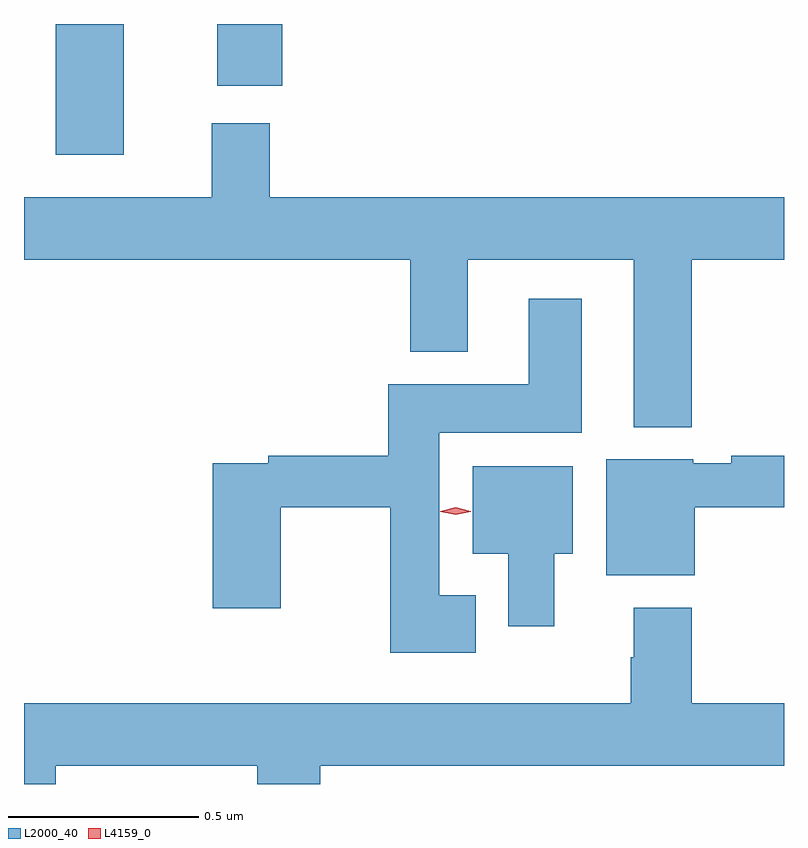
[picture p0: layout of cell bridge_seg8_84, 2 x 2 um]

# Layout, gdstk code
import gdstk
lib = gdstk.Library(unit=1e-6, precision=1e-09)
def R(c, l, rs):  # rectangles x0, y0, x1, y1
    for r in rs: c.add(gdstk.rectangle(r[:2], r[2:], *l))
def P(c, l, *ps):  # polygons
    for p in ps: c.add(gdstk.Polygon(p, *l))
L2000_40 = (2000, 40)
L4159_0 = (4159, 0)

bridge_seg8_84 = lib.new_cell('bridge_seg8_84')
R(bridge_seg8_84, L2000_40, [(685.73,1095.464,685.909,1095.808), (686.156,1095.645,686.327,1095.808)])
P(bridge_seg8_84, L2000_40, [(687.404,1095.188),(687.647,1095.188),(687.647,1095.352),(686.294,1095.352),(686.294,1095.547),(686.141,1095.547),(686.141,1095.352),(685.647,1095.352),(685.647,1095.188),(686.663,1095.188),(686.663,1094.945),(686.815,1094.945),(686.815,1095.188),(687.251,1095.188),(687.251,1094.747),(687.404,1094.747)],
  [(686.836,1094.305),(686.74,1094.305),(686.74,1094.732),(687.115,1094.732),(687.115,1095.085),(686.975,1095.085),(686.975,1094.86),(686.606,1094.86),(686.606,1094.672),(686.29,1094.672),(686.29,1094.652),(686.144,1094.652),(686.144,1094.271),(686.322,1094.271),(686.322,1094.536),(686.611,1094.536),(686.611,1094.153),(686.836,1094.153)],
  [(687.412,1094.536),(687.647,1094.536),(687.647,1094.672),(687.508,1094.672),(687.508,1094.652),(687.408,1094.652),(687.408,1094.662),(687.179,1094.662),(687.179,1094.357),(687.412,1094.357)],
  [(687.043,1094.414),(687.091,1094.414),(687.091,1094.644),(686.828,1094.644),(686.828,1094.414),(686.921,1094.414),(686.921,1094.223),(687.043,1094.223)],
  [(685.73,1093.856),(686.261,1093.856),(686.261,1093.808),(686.426,1093.808),(686.426,1093.856),(687.647,1093.856),(687.647,1094.02),(687.404,1094.02),(687.404,1094.272),(687.251,1094.272),(687.251,1094.141),(687.244,1094.141),(687.244,1094.02),(685.647,1094.02),(685.647,1093.808),(685.73,1093.808)])
P(bridge_seg8_84, L4159_0, [(686.783,1094.516),(686.743,1094.525),(686.742,1094.526),(686.743,1094.526),(686.783,1094.536),(686.823,1094.526),(686.823,1094.526),(686.823,1094.525)])

lib.write_gds('bridge_seg8_84.gds')
